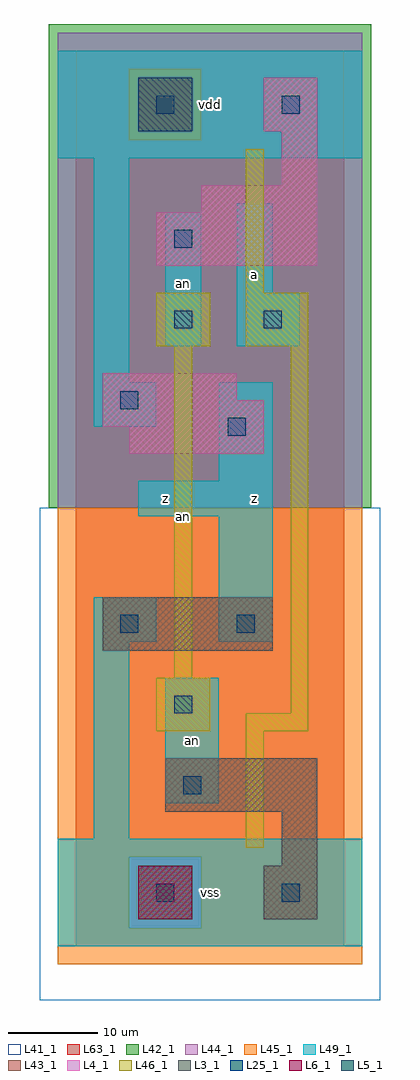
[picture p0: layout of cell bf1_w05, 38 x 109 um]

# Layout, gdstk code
import gdstk
lib = gdstk.Library(unit=1e-6, precision=1e-09)
def R(c, l, rs):  # rectangles x0, y0, x1, y1
    for r in rs: c.add(gdstk.rectangle(r[:2], r[2:], *l))
L3_1 = (3, 1)
L4_1 = (4, 1)
L5_1 = (5, 1)
L6_1 = (6, 1)
L25_1 = (25, 1)
L41_1 = (41, 1)
L42_1 = (42, 1)
L43_1 = (43, 1)
L44_1 = (44, 1)
L45_1 = (45, 1)
L46_1 = (46, 1)
L49_1 = (49, 1)
L63_1 = (63, 1)

bf1_w05 = lib.new_cell('bf1_w05')
R(bf1_w05, L3_1, [(21,3,27,9), (23,9,27,15), (10,15,27,21), (3,33,22,39)])
R(bf1_w05, L4_1, [(6,55,21,58), (3,58,21,61), (3,61,18,64), (9,76,27,82), (14,82,27,85), (23,85,27,91), (21,91,27,97)])
R(bf1_w05, L5_1, [(7,91,13,97)])
R(bf1_w05, L6_1, [(7,3,13,9)])
R(bf1_w05, L25_1, [(9,5,11,7), (23,5,25,7), (12,17,14,19), (11,26,13,28), (5,35,7,37), (18,35,20,37), (17,57,19,59), (5,60,7,62), (11,69,13,71), (21,69,23,71), (11,78,13,80), (9,93,11,95), (23,93,25,95)])
R(bf1_w05, L41_1, [(-4,-6,34,49), (-3,-3,33,49)])
R(bf1_w05, L42_1, [(-3,49,33,103)])
R(bf1_w05, L43_1, [(7,3,13,9), (21,3,27,9), (23,9,27,15), (10,15,27,21), (3,33,22,39), (6,55,21,58), (3,58,21,61), (3,61,18,64), (9,76,27,82), (14,82,27,85), (23,85,27,91), (7,91,13,97), (21,91,27,97)])
R(bf1_w05, L44_1, [(6,2,14,10), (-2,49,32,90), (-2,90,6,98), (14,90,32,98), (-2,98,32,102)])
R(bf1_w05, L45_1, [(-2,-2,32,2), (-2,2,6,10), (14,2,32,10), (-2,10,32,49), (6,90,14,98)])
R(bf1_w05, L46_1, [(19,11,21,24), (9,24,15,30), (19,24,26,26), (24,26,26,67), (11,30,13,67), (9,67,15,73), (19,67,26,73), (19,73,21,89)])
R(bf1_w05, L49_1, [(-2,0,32,12), (2,12,6,34), (10,16,16,30), (2,34,9,39), (16,34,22,48), (7,48,22,52), (16,52,22,63), (2,58,9,63), (2,63,6,88), (10,67,14,82), (18,67,25,73), (18,73,22,83), (-2,88,32,100)])
R(bf1_w05, L63_1, [(0,0,30,100)])
bf1_w05.add(gdstk.Label('an', (12,48), layer=46, texttype=1))
bf1_w05.add(gdstk.Label('z', (10,50), layer=49, texttype=1))
bf1_w05.add(gdstk.Label('z', (10,50), layer=49, texttype=1))
bf1_w05.add(gdstk.Label('an', (12,74), layer=49, texttype=1))
bf1_w05.add(gdstk.Label('vss', (15,6), layer=49, texttype=1))
bf1_w05.add(gdstk.Label('vss', (15,6), layer=49, texttype=1))
bf1_w05.add(gdstk.Label('an', (13,23), layer=49, texttype=1))
bf1_w05.add(gdstk.Label('z', (20,50), layer=49, texttype=1))
bf1_w05.add(gdstk.Label('z', (20,50), layer=49, texttype=1))
bf1_w05.add(gdstk.Label('a', (20,75), layer=49, texttype=1))
bf1_w05.add(gdstk.Label('a', (20,75), layer=49, texttype=1))
bf1_w05.add(gdstk.Label('vdd', (15,94), layer=49, texttype=1))
bf1_w05.add(gdstk.Label('vdd', (15,94), layer=49, texttype=1))

lib.write_gds('bf1_w05.gds')
